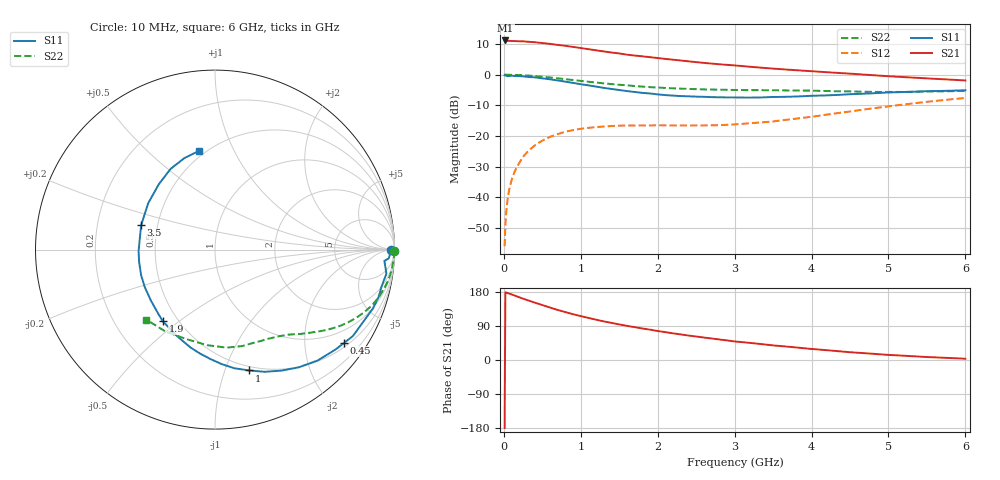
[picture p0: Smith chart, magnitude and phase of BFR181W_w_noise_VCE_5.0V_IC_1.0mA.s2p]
! Infineon Technologies  Discrete & RF Semiconductors
! BFR181W
! VCE =  5.0 V,  IC =  1.0 mA
! Common Emitter S-Parameters:  Jan 2017
# GHz  S  MA  R  50
!  f  S11  S21  S12  S22
! GHz  MAG  ANG  MAG  ANG  MAG  ANG  MAG  ANG
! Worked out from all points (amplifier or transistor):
!   77 points, 10 MHz to 6 GHz, reference 50 ohm
!   highest |S21| = 11.2 dB at 20 MHz (marker M1)
!   |S21| within 3 dB of that: start of sweep to 1.142 GHz
!   unconditionally stable (mu >= 1): 2.286 GHz to 4.425 GHz
!   at 130 MHz: K = 0.05, MSG = 21.6 dB, |S12| = -32.3 dB
!   at 2.2 GHz: K = 0.97, MSG = 10.7 dB, |S12| = -16.6 dB
!   at 6 GHz: K = 0.85, MSG = 2.8 dB, |S12| = -7.6 dB
!   lowest NFmin = 0.87 dB at 450 MHz
!   S11 on the Smith chart (normalised r, x): 10 MHz: open; 450 MHz: 0.61, -2.97; 1 GHz: 0.46, -1.21; 1.9 GHz: 0.41, -0.44; 3.5 GHz: 0.40, +0.13; 6 GHz: 0.46, +0.74
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0.01  0.983 0.0  3.614 -179.5  0.0016 90.6  1 -0.5
0.02  0.9695 -2.9  3.615 178.7  0.0036 98.8  1 -0.7
0.04  0.9537 -3.5  3.582 177.4  0.0075 90.1  1 -1.6
0.06  0.9492 -4.7  3.56 176.0  0.0114 87.2  0.9974 -2.4
0.14  0.9528 -11.7  3.534 170.2  0.0261 82.8  0.9918 -5.9
0.3  0.9232 -24.5  3.457 158.3  0.054 74.3  0.9701 -12.3
0.45  0.8871 -35.9  3.33 148.3  0.077 66.7  0.9386 -17.9
0.6  0.842 -47.2  3.179 138.4  0.0969 60.2  0.9007 -22.9
0.7  0.8054 -54.5  3.059 132.1  0.1075 56.1  0.8729 -25.9
0.8  0.7693 -61.2  2.955 126.4  0.1174 52.7  0.8447 -28.7
1  0.6992 -74.3  2.721 115.8  0.1313 46.4  0.7916 -33.5
1.1  0.67 -80.7  2.607 111.0  0.136 44.0  0.7677 -35.6
1.3  0.6097 -92.5  2.394 101.8  0.1429 39.3  0.7224 -39.4
1.5  0.5624 -104.0  2.22 93.9  0.1474 36.5  0.6851 -42.8
1.9  0.4939 -126.0  1.93 80.1  0.1487 33.6  0.6269 -49.1
2.1  0.4649 -136.4  1.809 73.5  0.1491 33.6  0.608 -52.1
2.4  0.4439 -151.6  1.652 64.5  0.1486 34.7  0.5862 -57.0
3.1  0.4235 177.2  1.381 47.1  0.158 43.3  0.5618 -67.8
3.5  0.4333 161.8  1.257 38.5  0.1727 49.2  0.5584 -74.2
4.1  0.456 142.3  1.118 27.5  0.2145 54.2  0.5453 -85.5
5.1  0.517 116.6  0.929 12.4  0.3155 53.0  0.5231 -110.6
6  0.5569 99.4  0.805 3.4  0.4178 45.1  0.5465 -134.5
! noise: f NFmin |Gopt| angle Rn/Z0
0.45  0.87  0.69  18  0.51
0.9  0.95  0.64  36  0.47
1.9  1.56  0.44  83  0.32
2.4  1.81  0.38  99  0.34
